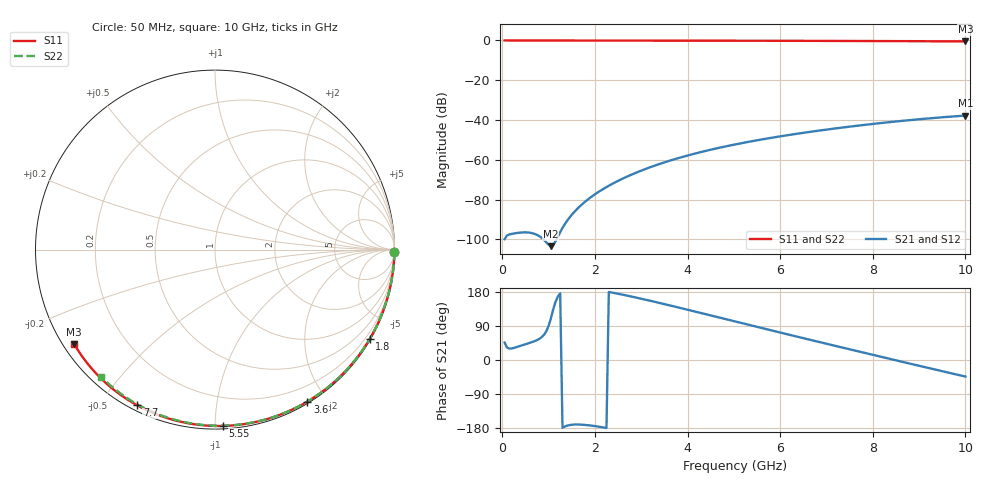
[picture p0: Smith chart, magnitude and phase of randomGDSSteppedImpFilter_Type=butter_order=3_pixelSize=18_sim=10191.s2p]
! freq	dB(S11)	phase(S11)	dB(S12)	phase(S12)
!  dB(S21)	phase(S21)	dB(S22)	phase(S22)
!S-par simulation data
#  GHz  S  DB  R 50
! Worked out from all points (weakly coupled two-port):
!   200 points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, 50 MHz to 10 GHz, reference 50 ohm
!   highest |S21| = -37.78 dB at 10 GHz (marker M1); lowest = -103.5 dB at 1.05 GHz (marker M2)
!   lowest |S11| = -0.5 dB at 10 GHz (marker M3), VSWR 35.23, Z = 1.55 - j15.2 ohm
!   |S11| at or under -10 dB: nowhere
!   |S22| runs from -0.4 to 0.0 dB; largest |S21 - S12| = 0
!   S11 on the Smith chart (normalised r, x): 50 MHz: open; 1.8 GHz: 0.03, -3.72; 3.6 GHz: 0.02, -1.78; 5.55 GHz: 0.02, -1.05; 7.7 GHz: 0.02, -0.62; 10 GHz: 0.03, -0.30
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0.05  -0.00 -0.9  -99.94 46.1  -99.94 46.1  -0.00 -0.8
0.55  -0.01 -9.3  -96.58 43.6  -96.58 43.6  -0.01 -8.3
1.05  -0.02 -17.7  -103.47 110.2  -103.47 110.2  -0.02 -15.9
1.75  -0.04 -29.3  -81.84 -170.9  -81.84 -170.9  -0.03 -26.3
1.8  -0.04 -30.1  -80.86 -171.5  -80.86 -171.5  -0.03 -27.0
1.85  -0.04 -30.9  -79.94 -172.1  -79.94 -172.1  -0.04 -27.8
2  -0.04 -33.4  -77.38 -174.4  -77.38 -174.4  -0.04 -30.0
2.15  -0.05 -35.8  -75.12 -177.2  -75.12 -177.2  -0.04 -32.1
2.35  -0.05 -39.0  -72.43 178.4  -72.43 178.4  -0.05 -35.1
2.55  -0.05 -42.2  -70.04 173.6  -70.04 173.6  -0.05 -37.9
2.95  -0.06 -48.6  -65.93 163.1  -65.93 163.1  -0.06 -43.7
3.4  -0.07 -55.6  -62.09 150.4  -62.09 150.4  -0.07 -50.0
3.6  -0.08 -58.7  -60.58 144.6  -60.58 144.6  -0.07 -52.8
4.3  -0.10 -69.3  -56.07 123.7  -56.07 123.7  -0.09 -62.4
5.05  -0.12 -80.3  -52.19 101.0  -52.19 101.0  -0.11 -72.4
5.55  -0.14 -87.4  -50.00 85.9  -50.00 85.9  -0.13 -78.9
6.1  -0.17 -95.0  -47.86 69.5  -47.86 69.5  -0.15 -85.9
6.7  -0.20 -103.2  -45.79 51.7  -45.79 51.7  -0.18 -93.3
7.7  -0.27 -116.5  -42.79 22.4  -42.79 22.4  -0.24 -105.3
8.35  -0.32 -124.9  -41.11 3.5  -41.11 3.5  -0.28 -113.0
9.2  -0.40 -135.9  -39.22 -21.0  -39.22 -21.0  -0.36 -122.7
10  -0.49 -146.1  -37.78 -43.7  -37.78 -43.7  -0.44 -131.8
